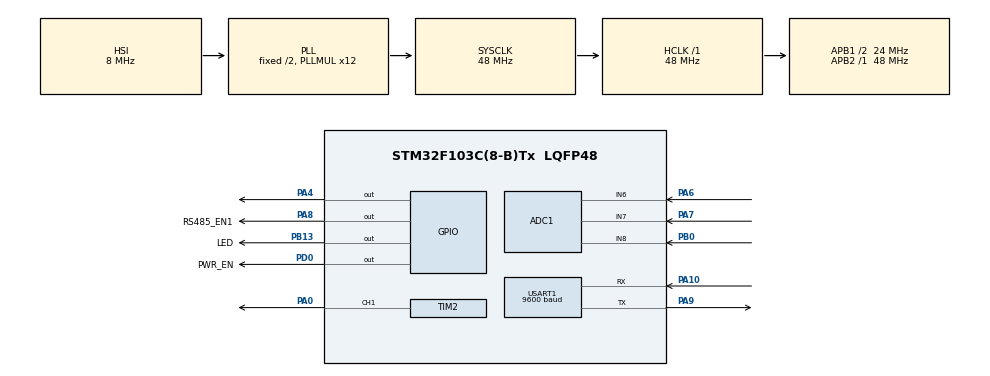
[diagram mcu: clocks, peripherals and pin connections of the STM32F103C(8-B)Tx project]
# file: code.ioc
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ADC1.Channel-0\#ChannelRegularConversion=ADC_CHANNEL_VREFINT
ADC1.Channel-1\#ChannelRegularConversion=ADC_CHANNEL_6
ADC1.Channel-2\#ChannelRegularConversion=ADC_CHANNEL_8
ADC1.Channel-3\#ChannelRegularConversion=ADC_CHANNEL_7
ADC1.DiscontinuousConvMode=ENABLE
ADC1.NbrOfConversion=4
ADC1.NbrOfConversionFlag=1
ADC1.Rank-0\#ChannelRegularConversion=1
ADC1.Rank-1\#ChannelRegularConversion=2
ADC1.Rank-2\#ChannelRegularConversion=3
ADC1.Rank-3\#ChannelRegularConversion=4
ADC1.SamplingTime-0\#ChannelRegularConversion=ADC_SAMPLETIME_71CYCLES_5
ADC1.SamplingTime-1\#ChannelRegularConversion=ADC_SAMPLETIME_71CYCLES_5
ADC1.SamplingTime-2\#ChannelRegularConversion=ADC_SAMPLETIME_71CYCLES_5
ADC1.SamplingTime-3\#ChannelRegularConversion=ADC_SAMPLETIME_71CYCLES_5
ADC1.master=1
Mcu.Family=STM32F1
Mcu.Name=STM32F103C(8-B)Tx
Mcu.Package=LQFP48
NVIC.PriorityGroup=NVIC_PRIORITYGROUP_4
NVIC.TIM2_IRQn=true\:0\:0\:false\:false\:true\:true\:true
NVIC.USART1_IRQn=true\:0\:0\:false\:false\:true\:true\:true
PA0-WKUP.Signal=S_TIM2_CH1_ETR
PA1.Signal=ADCx_IN1
PA10.Mode=Asynchronous
PA10.Signal=USART1_RX
PA13.Mode=Serial_Wire
PA13.Signal=SYS_JTMS-SWDIO
PA14.Mode=Serial_Wire
PA14.Signal=SYS_JTCK-SWCLK
PA2.Signal=ADCx_IN2
PA4.Signal=GPIO_Output
PA6.Signal=ADCx_IN6
PA7.Signal=ADCx_IN7
PA8.GPIO_Label=RS485_EN1
PA8.Signal=GPIO_Output
PA9.Mode=Asynchronous
PA9.Signal=USART1_TX
PB0.Signal=ADCx_IN8
PB13.GPIO_Label=LED
PB13.Signal=GPIO_Output
PD0-OSC_IN.GPIO_Label=PWR_EN
PD0-OSC_IN.Signal=GPIO_Output
ProjectManager.HeapSize=0x200
ProjectManager.StackSize=0x400
ProjectManager.TargetToolchain=MDK-ARM V5
RCC.ADCPresc=RCC_ADCPCLK2_DIV4
RCC.AHBFreq_Value=48000000
RCC.APB1CLKDivider=RCC_HCLK_DIV2
RCC.APB1Freq_Value=24000000
RCC.APB1TimFreq_Value=48000000
RCC.APB2Freq_Value=48000000
RCC.APB2TimFreq_Value=48000000
RCC.HCLKFreq_Value=48000000
RCC.PLLMUL=RCC_PLL_MUL12
RCC.SYSCLKFreq_VALUE=48000000
RCC.SYSCLKSource=RCC_SYSCLKSOURCE_PLLCLK
RCC.USBFreq_Value=48000000
SH.ADCx_IN1.0=ADC1_IN1
SH.ADCx_IN2.0=ADC1_IN2
SH.ADCx_IN6.0=ADC1_IN6,IN6
SH.ADCx_IN7.0=ADC1_IN7,IN7
SH.ADCx_IN8.0=ADC1_IN8,IN8
SH.S_TIM2_CH1_ETR.0=TIM2_CH1,PWM Generation1 CH1
TIM2.AutoReloadPreload=TIM_AUTORELOAD_PRELOAD_DISABLE
TIM2.Channel-PWM\ Generation1\ CH1=TIM_CHANNEL_1
TIM2.CounterMode=TIM_COUNTERMODE_DOWN
TIM2.Period=39
TIM2.Prescaler=4799
USART1.BaudRate=9600
USART1.VirtualMode=VM_ASYNC
VP_ADC1_Vref_Input.Mode=IN-Vrefint
VP_TIM2_VS_ClockSourceINT.Mode=Internal
board=custom

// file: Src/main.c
/* USER CODE BEGIN Header */
/**
  ******************************************************************************
  * @file           : main.c
  * @brief          : Main program body
  ******************************************************************************
  * @attention
  *
  * <h2><center>&copy; Copyright (c) 2020 STMicroelectronics.
  * All rights reserved.</center></h2>
  *
  * This software component is licensed by ST under BSD 3-Clause license,
  * the "License"; You may not use this file except in compliance with the
  * License. You may obtain a copy of the License at:
  *                        opensource.org/licenses/BSD-3-Clause
  *
  ******************************************************************************
  */
/* USER CODE END Header */

#include "main.h"

/* USER CODE BEGIN Includes */
#include "modbus.h"
#include "app.h"
#include "adc.h"
/* USER CODE END Includes */

ADC_HandleTypeDef hadc1;

TIM_HandleTypeDef htim2;

UART_HandleTypeDef huart1;

void SystemClock_Config(void);
static void MX_GPIO_Init(void);
static void MX_ADC1_Init(void);
static void MX_USART1_UART_Init(void);
static void MX_TIM2_Init(void);

/* USER CODE BEGIN 0 */
uint32_t freq,tickTime,freq_count;
extern unsigned char stop_flag ;
/* USER CODE END 0 */

int main(void)
{

  /* MCU Configuration--------------------------------------------------------*/

  /* Reset of all peripherals, Initializes the Flash interface and the Systick. */
  HAL_Init();

  /* Configure the system clock */
  SystemClock_Config();

  /* Initialize all configured peripherals */
  MX_GPIO_Init();
  MX_ADC1_Init();
  MX_USART1_UART_Init();
  MX_TIM2_Init();
  /* USER CODE BEGIN 2 */
	 params_init();
   RS485_Init();
   HAL_GPIO_WritePin(PWR_EN_GPIO_Port, PWR_EN_Pin, GPIO_PIN_RESET);
   HAL_TIM_Base_Start_IT(&htim2);
   HAL_TIM_PWM_Start(&htim2,TIM_CHANNEL_1);
	 tickTime=HAL_GetTick();
  /* USER CODE END 2 */

  /* Infinite loop */
  while (1)
  {

    /* USER CODE BEGIN 3 */
		//HAL_Delay(1000);

		if((HAL_GetTick()-tickTime)>=1000)
		{
			 HAL_GPIO_TogglePin(LED_GPIO_Port, LED_Pin);
			 tickTime=HAL_GetTick();

		}
		app_loop();
  }
  /* USER CODE END 3 */
}

void SystemClock_Config(void)
{
  RCC_OscInitTypeDef RCC_OscInitStruct = {0};
  RCC_ClkInitTypeDef RCC_ClkInitStruct = {0};
  RCC_PeriphCLKInitTypeDef PeriphClkInit = {0};

  /** Initializes the CPU, AHB and APB busses clocks
  */
  RCC_OscInitStruct.OscillatorType = RCC_OSCILLATORTYPE_HSI;
  RCC_OscInitStruct.HSIState = RCC_HSI_ON;
  RCC_OscInitStruct.HSICalibrationValue = RCC_HSICALIBRATION_DEFAULT;
  RCC_OscInitStruct.PLL.PLLState = RCC_PLL_ON;
  RCC_OscInitStruct.PLL.PLLSource = RCC_PLLSOURCE_HSI_DIV2;
  RCC_OscInitStruct.PLL.PLLMUL = RCC_PLL_MUL12;
  if (HAL_RCC_OscConfig(&RCC_OscInitStruct) != HAL_OK)
  {
    Error_Handler();
  }
  /** Initializes the CPU, AHB and APB busses clocks
  */
  RCC_ClkInitStruct.ClockType = RCC_CLOCKTYPE_HCLK|RCC_CLOCKTYPE_SYSCLK
                              |RCC_CLOCKTYPE_PCLK1|RCC_CLOCKTYPE_PCLK2;
  RCC_ClkInitStruct.SYSCLKSource = RCC_SYSCLKSOURCE_PLLCLK;
  RCC_ClkInitStruct.AHBCLKDivider = RCC_SYSCLK_DIV1;
  RCC_ClkInitStruct.APB1CLKDivider = RCC_HCLK_DIV2;
  RCC_ClkInitStruct.APB2CLKDivider = RCC_HCLK_DIV1;

  if (HAL_RCC_ClockConfig(&RCC_ClkInitStruct, FLASH_LATENCY_1) != HAL_OK)
  {
    Error_Handler();
  }
  PeriphClkInit.PeriphClockSelection = RCC_PERIPHCLK_ADC;
  PeriphClkInit.AdcClockSelection = RCC_ADCPCLK2_DIV4;
  if (HAL_RCCEx_PeriphCLKConfig(&PeriphClkInit) != HAL_OK)
  {
    Error_Handler();
  }
}

static void MX_ADC1_Init(void)
{

  ADC_ChannelConfTypeDef sConfig = {0};

  /** Common config
  */
  hadc1.Instance = ADC1;
  hadc1.Init.ScanConvMode = ADC_SCAN_ENABLE;
  hadc1.Init.ContinuousConvMode = DISABLE;
  hadc1.Init.DiscontinuousConvMode = ENABLE;
  hadc1.Init.NbrOfDiscConversion = 1;
  hadc1.Init.ExternalTrigConv = ADC_SOFTWARE_START;
  hadc1.Init.DataAlign = ADC_DATAALIGN_RIGHT;
  hadc1.Init.NbrOfConversion = 4;
  if (HAL_ADC_Init(&hadc1) != HAL_OK)
  {
    Error_Handler();
  }
  /** Configure Regular Channel
  */
  sConfig.Channel = ADC_CHANNEL_VREFINT;
  sConfig.Rank = ADC_REGULAR_RANK_1;
  sConfig.SamplingTime = ADC_SAMPLETIME_71CYCLES_5;
  if (HAL_ADC_ConfigChannel(&hadc1, &sConfig) != HAL_OK)
  {
    Error_Handler();
  }
  /** Configure Regular Channel
  */
  sConfig.Channel = ADC_CHANNEL_6;
  sConfig.Rank = ADC_REGULAR_RANK_2;
  if (HAL_ADC_ConfigChannel(&hadc1, &sConfig) != HAL_OK)
  {
    Error_Handler();
  }
  /** Configure Regular Channel
  */
  sConfig.Channel = ADC_CHANNEL_8;
  sConfig.Rank = ADC_REGULAR_RANK_3;
  if (HAL_ADC_ConfigChannel(&hadc1, &sConfig) != HAL_OK)
  {
    Error_Handler();
  }
  /** Configure Regular Channel
  */
  sConfig.Channel = ADC_CHANNEL_7;
  sConfig.Rank = ADC_REGULAR_RANK_4;
  if (HAL_ADC_ConfigChannel(&hadc1, &sConfig) != HAL_OK)
  {
    Error_Handler();
  }

}

static void MX_TIM2_Init(void)
{

  TIM_ClockConfigTypeDef sClockSourceConfig = {0};
  TIM_MasterConfigTypeDef sMasterConfig = {0};
  TIM_OC_InitTypeDef sConfigOC = {0};

  htim2.Instance = TIM2;
  htim2.Init.Prescaler = 4799;
  htim2.Init.CounterMode = TIM_COUNTERMODE_DOWN;
  htim2.Init.Period = 39;
  htim2.Init.ClockDivision = TIM_CLOCKDIVISION_DIV1;
  htim2.Init.AutoReloadPreload = TIM_AUTORELOAD_PRELOAD_DISABLE;
  if (HAL_TIM_Base_Init(&htim2) != HAL_OK)
  {
    Error_Handler();
  }
  sClockSourceConfig.ClockSource = TIM_CLOCKSOURCE_INTERNAL;
  if (HAL_TIM_ConfigClockSource(&htim2, &sClockSourceConfig) != HAL_OK)
  {
    Error_Handler();
  }
  if (HAL_TIM_PWM_Init(&htim2) != HAL_OK)
  {
    Error_Handler();
  }
  sMasterConfig.MasterOutputTrigger = TIM_TRGO_RESET;
  sMasterConfig.MasterSlaveMode = TIM_MASTERSLAVEMODE_DISABLE;
  if (HAL_TIMEx_MasterConfigSynchronization(&htim2, &sMasterConfig) != HAL_OK)
  {
    Error_Handler();
  }
  sConfigOC.OCMode = TIM_OCMODE_PWM1;
  sConfigOC.Pulse = 0;
  sConfigOC.OCPolarity = TIM_OCPOLARITY_HIGH;
  sConfigOC.OCFastMode = TIM_OCFAST_DISABLE;
  if (HAL_TIM_PWM_ConfigChannel(&htim2, &sConfigOC, TIM_CHANNEL_1) != HAL_OK)
  {
    Error_Handler();
  }
  HAL_TIM_MspPostInit(&htim2);

}

static void MX_USART1_UART_Init(void)
{

  huart1.Instance = USART1;
  huart1.Init.BaudRate = 9600;
  huart1.Init.WordLength = UART_WORDLENGTH_8B;
  huart1.Init.StopBits = UART_STOPBITS_1;
  huart1.Init.Parity = UART_PARITY_NONE;
  huart1.Init.Mode = UART_MODE_TX_RX;
  huart1.Init.HwFlowCtl = UART_HWCONTROL_NONE;
  huart1.Init.OverSampling = UART_OVERSAMPLING_16;
  if (HAL_UART_Init(&huart1) != HAL_OK)
  {
    Error_Handler();
  }

}

static void MX_GPIO_Init(void)
{
  GPIO_InitTypeDef GPIO_InitStruct = {0};

  /* GPIO Ports Clock Enable */
  __HAL_RCC_GPIOD_CLK_ENABLE();
  __HAL_RCC_GPIOA_CLK_ENABLE();
  __HAL_RCC_GPIOB_CLK_ENABLE();

  /*Configure GPIO pin Output Level */
  HAL_GPIO_WritePin(PWR_EN_GPIO_Port, PWR_EN_Pin, GPIO_PIN_RESET);

  /*Configure GPIO pin Output Level */
  HAL_GPIO_WritePin(GPIOA, GPIO_PIN_4|RS485_EN1_Pin, GPIO_PIN_RESET);

  /*Configure GPIO pin Output Level */
  HAL_GPIO_WritePin(LED_GPIO_Port, LED_Pin, GPIO_PIN_RESET);

  /*Configure GPIO pin : PWR_EN_Pin */
  GPIO_InitStruct.Pin = PWR_EN_Pin;
  GPIO_InitStruct.Mode = GPIO_MODE_OUTPUT_PP;
  GPIO_InitStruct.Pull = GPIO_NOPULL;
  GPIO_InitStruct.Speed = GPIO_SPEED_FREQ_LOW;
  HAL_GPIO_Init(PWR_EN_GPIO_Port, &GPIO_InitStruct);

  /*Configure GPIO pins : PA4 RS485_EN1_Pin */
  GPIO_InitStruct.Pin = GPIO_PIN_4|RS485_EN1_Pin;
  GPIO_InitStruct.Mode = GPIO_MODE_OUTPUT_PP;
  GPIO_InitStruct.Pull = GPIO_NOPULL;
  GPIO_InitStruct.Speed = GPIO_SPEED_FREQ_LOW;
  HAL_GPIO_Init(GPIOA, &GPIO_InitStruct);

  /*Configure GPIO pin : LED_Pin */
  GPIO_InitStruct.Pin = LED_Pin;
  GPIO_InitStruct.Mode = GPIO_MODE_OUTPUT_PP;
  GPIO_InitStruct.Pull = GPIO_NOPULL;
  GPIO_InitStruct.Speed = GPIO_SPEED_FREQ_LOW;
  HAL_GPIO_Init(LED_GPIO_Port, &GPIO_InitStruct);

  /*Configure peripheral I/O remapping */
  __HAL_AFIO_REMAP_PD01_ENABLE();

}

void Error_Handler(void)
{
}

/************************ (C) COPYRIGHT STMicroelectronics *****END OF FILE****/
